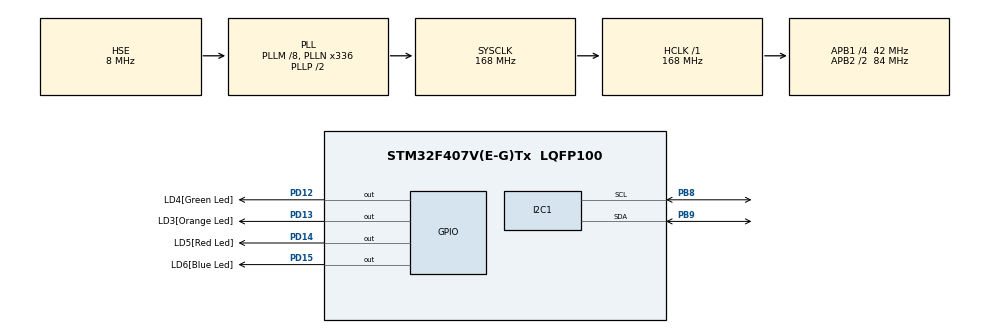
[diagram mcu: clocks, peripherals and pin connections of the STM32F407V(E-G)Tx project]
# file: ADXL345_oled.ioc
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I2C1.I2C_Mode=I2C_Fast
Mcu.Family=STM32F4
Mcu.Name=STM32F407V(E-G)Tx
Mcu.Package=LQFP100
NVIC.PriorityGroup=NVIC_PRIORITYGROUP_0
PB8.Mode=I2C
PB8.Signal=I2C1_SCL
PB9.Mode=I2C
PB9.Signal=I2C1_SDA
PD12.GPIO_Label=LD4[Green Led]
PD12.Signal=GPIO_Output
PD13.GPIO_Label=LD3[Orange Led]
PD13.Signal=GPIO_Output
PD14.GPIO_Label=LD5[Red Led]
PD14.Signal=GPIO_Output
PD15.GPIO_Label=LD6[Blue Led]
PD15.Signal=GPIO_Output
PH0-OSC_IN.Mode=HSE-External-Oscillator
PH0-OSC_IN.Signal=RCC_OSC_IN
PH1-OSC_OUT.Mode=HSE-External-Oscillator
PH1-OSC_OUT.Signal=RCC_OSC_OUT
ProjectManager.HeapSize=0x200
ProjectManager.StackSize=0x400
ProjectManager.TargetToolchain=STM32CubeIDE
RCC.48MHZClocksFreq_Value=48000000
RCC.AHBFreq_Value=168000000
RCC.APB1CLKDivider=RCC_HCLK_DIV4
RCC.APB1Freq_Value=42000000
RCC.APB1TimFreq_Value=84000000
RCC.APB2CLKDivider=RCC_HCLK_DIV2
RCC.APB2Freq_Value=84000000
RCC.APB2TimFreq_Value=168000000
RCC.CortexFreq_Value=168000000
RCC.HCLKFreq_Value=168000000
RCC.HSE_VALUE=8000000
RCC.HSI_VALUE=16000000
RCC.LSE_VALUE=32768
RCC.PLLM=8
RCC.PLLN=336
RCC.PLLQ=7
RCC.PLLSourceVirtual=RCC_PLLSOURCE_HSE
RCC.SYSCLKFreq_VALUE=168000000
RCC.SYSCLKSource=RCC_SYSCLKSOURCE_PLLCLK
RCC.VCOOutputFreq_Value=336000000
board=STM32F407G-DISC1

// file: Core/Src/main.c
/* USER CODE BEGIN Header */
/**
  ******************************************************************************
  * @file           : main.c
  * @brief          : Main program body
  ******************************************************************************
  * @attention
  *
  * Copyright (c) 2024 STMicroelectronics.
  * All rights reserved.
  *
  * This software is licensed under terms that can be found in the LICENSE file
  * in the root directory of this software component.
  * If no LICENSE file comes with this software, it is provided AS-IS.
  *
  ******************************************************************************
  */
/* USER CODE END Header */
#include "main.h"
#include "stm32f4xx_hal.h"

/* USER CODE BEGIN Includes */
#include "ssd1306.h"
/* USER CODE END Includes */

/* USER CODE BEGIN PD */
#define adxl_address 0x53<<1
/* USER CODE END PD */

I2C_HandleTypeDef hi2c1;

/* USER CODE BEGIN PV */
uint8_t data_rec[6];
uint8_t chipid=0;
int16_t x,y,z;

float xg, yg, zg;
char x_char[3], y_char[3], z_char[3];

/* USER CODE END PV */

void SystemClock_Config(void);
static void MX_GPIO_Init(void);
static void MX_I2C1_Init(void);

/* USER CODE BEGIN 0 */
//Write function
void adxl_write (uint8_t reg, uint8_t value)
{
	uint8_t data[2];
	data[0] = reg;
	data[1] = value;
	HAL_I2C_Master_Transmit (&hi2c1, adxl_address, data, 2, 100);
}

void adxl_read_values (uint8_t reg)
{
	HAL_I2C_Mem_Read (&hi2c1, adxl_address, reg, 1, (uint8_t *)data_rec, 6, 100);
}

void adxl_read_address (uint8_t reg)
{
	HAL_I2C_Mem_Read (&hi2c1, adxl_address, reg, 1, &chipid, 1, 100);
}

void adxl_init (void)
{
	adxl_read_address (0x00); // read the DEVID

	adxl_write (0x31, 0x01);  // data_format range= +- 4g
	adxl_write (0x2d, 0x00);  // reset all bits
	adxl_write (0x2d, 0x08);  // power_cntl measure and wake up 8hz

}

void display_data (float data)
{
	sprintf (x_char, "% 4f", data);
    SSD1306_Puts (x_char, &Font_11x18, 1);
	SSD1306_UpdateScreen ();  // update display
}
/* USER CODE END 0 */

int main(void)
{

  /* MCU Configuration--------------------------------------------------------*/

  /* Reset of all peripherals, Initializes the Flash interface and the Systick. */
  HAL_Init();

  /* Configure the system clock */
  SystemClock_Config();

  /* Initialize all configured peripherals */
  MX_GPIO_Init();
  MX_I2C1_Init();
  /* USER CODE BEGIN 2 */
  SSD1306_Init();  // initialize OLED display

  SSD1306_Fill (0);  // fill display with black color

  SSD1306_GotoXY (1, 1);
  SSD1306_Puts ("Initializing...", &Font_11x18, 1);
  SSD1306_UpdateScreen ();  // update display

  adxl_init();  // initialize adxl

  SSD1306_Fill (0);
  SSD1306_UpdateScreen();

  /* USER CODE END 2 */

  /* Infinite loop */
  while (1)
  {

    /* USER CODE BEGIN 3 */
	  adxl_read_values(0x32);
	  x = ((data_rec[1] << 8)|data_rec[0]);
	  y = ((data_rec[3] << 8)|data_rec[2]);
	  z = ((data_rec[5] << 8)|data_rec[4]);

	  xg = x * .0078;
	  yg = y * .0078;
	  zg = z * .0078;

	  SSD1306_GotoXY (16, 1);
	  SSD1306_Puts ("X: ", &Font_11x18, 1);
	  SSD1306_GotoXY (32, 1);
	  display_data (xg);

	  SSD1306_GotoXY (16, 20);
	  SSD1306_Puts ("Y: ", &Font_11x18, 1);
	  SSD1306_GotoXY (32, 20);
	  display_data (yg);

	  SSD1306_GotoXY (16, 40);
 	  SSD1306_Puts ("Z: ", &Font_11x18, 1);
	  SSD1306_GotoXY (32, 40);
	  display_data (zg);

	  HAL_Delay(10);

	  //

	  HAL_GPIO_WritePin(LD5_GPIO_Port, LD5_Pin, xg < -0.45 ? 1 : 0);
	  HAL_GPIO_WritePin(LD4_GPIO_Port, LD4_Pin, xg > 0.45 ? 1 : 0);
	  HAL_GPIO_WritePin(LD3_GPIO_Port, LD3_Pin, yg > 0.45 ? 1 : 0);
	  HAL_GPIO_WritePin(LD6_GPIO_Port, LD6_Pin, yg > -0.45 ? 1 : 0);

  }
  /* USER CODE END 3 */
}

void SystemClock_Config(void)
{
  RCC_OscInitTypeDef RCC_OscInitStruct = {0};
  RCC_ClkInitTypeDef RCC_ClkInitStruct = {0};

  /** Configure the main internal regulator output voltage
  */
  __HAL_RCC_PWR_CLK_ENABLE();
  __HAL_PWR_VOLTAGESCALING_CONFIG(PWR_REGULATOR_VOLTAGE_SCALE1);

  /** Initializes the RCC Oscillators according to the specified parameters
  * in the RCC_OscInitTypeDef structure.
  */
  RCC_OscInitStruct.OscillatorType = RCC_OSCILLATORTYPE_HSE;
  RCC_OscInitStruct.HSEState = RCC_HSE_ON;
  RCC_OscInitStruct.PLL.PLLState = RCC_PLL_ON;
  RCC_OscInitStruct.PLL.PLLSource = RCC_PLLSOURCE_HSE;
  RCC_OscInitStruct.PLL.PLLM = 8;
  RCC_OscInitStruct.PLL.PLLN = 336;
  RCC_OscInitStruct.PLL.PLLP = RCC_PLLP_DIV2;
  RCC_OscInitStruct.PLL.PLLQ = 7;
  if (HAL_RCC_OscConfig(&RCC_OscInitStruct) != HAL_OK)
  {
    Error_Handler();
  }

  /** Initializes the CPU, AHB and APB buses clocks
  */
  RCC_ClkInitStruct.ClockType = RCC_CLOCKTYPE_HCLK|RCC_CLOCKTYPE_SYSCLK
                              |RCC_CLOCKTYPE_PCLK1|RCC_CLOCKTYPE_PCLK2;
  RCC_ClkInitStruct.SYSCLKSource = RCC_SYSCLKSOURCE_PLLCLK;
  RCC_ClkInitStruct.AHBCLKDivider = RCC_SYSCLK_DIV1;
  RCC_ClkInitStruct.APB1CLKDivider = RCC_HCLK_DIV4;
  RCC_ClkInitStruct.APB2CLKDivider = RCC_HCLK_DIV2;

  if (HAL_RCC_ClockConfig(&RCC_ClkInitStruct, FLASH_LATENCY_5) != HAL_OK)
  {
    Error_Handler();
  }
}

static void MX_I2C1_Init(void)
{

  hi2c1.Instance = I2C1;
  hi2c1.Init.ClockSpeed = 400000;
  hi2c1.Init.DutyCycle = I2C_DUTYCYCLE_2;
  hi2c1.Init.OwnAddress1 = 0;
  hi2c1.Init.AddressingMode = I2C_ADDRESSINGMODE_7BIT;
  hi2c1.Init.DualAddressMode = I2C_DUALADDRESS_DISABLE;
  hi2c1.Init.OwnAddress2 = 0;
  hi2c1.Init.GeneralCallMode = I2C_GENERALCALL_DISABLE;
  hi2c1.Init.NoStretchMode = I2C_NOSTRETCH_DISABLE;
  if (HAL_I2C_Init(&hi2c1) != HAL_OK)
  {
    Error_Handler();
  }

}

static void MX_GPIO_Init(void)
{

  /* GPIO Ports Clock Enable */
  __HAL_RCC_GPIOH_CLK_ENABLE();
  __HAL_RCC_GPIOB_CLK_ENABLE();

}

void Error_Handler(void)
{
  __disable_irq();
  while (1)
  {
  }
}
